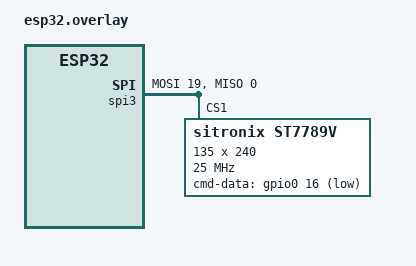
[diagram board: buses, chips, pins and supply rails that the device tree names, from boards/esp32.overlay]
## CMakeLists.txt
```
# SPDX-License-Identifier: Apache-2.0

cmake_minimum_required(VERSION 3.20.0)

find_package(Zephyr HINTS $ENV{ZEPHYR_BASE})
project(ttgo-display-helloworld)

FILE(GLOB app_sources src/*.c)
target_sources(app PRIVATE ${app_sources})
```

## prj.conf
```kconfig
CONFIG_GPIO=y
CONFIG_SPI=y
CONFIG_I2C=y
CONFIG_ST7789V=y
CONFIG_HEAP_MEM_POOL_SIZE=98304
CONFIG_GEN_ISR_TABLES=y
# CONFIG_GEN_IRQ_VECTOR_TABLE is not set
CONFIG_SYS_CLOCK_HW_CYCLES_PER_SEC=240000000
# CONFIG_XTENSA_RESET_VECTOR is not set
# CONFIG_XTENSA_USE_CORE_CRT1 is not set
CONFIG_MAIN_STACK_SIZE=2048
CONFIG_CONSOLE=y
CONFIG_UART_CONSOLE=y
CONFIG_SERIAL=y
CONFIG_PINMUX=y
CONFIG_PINMUX_ESP32=y
CONFIG_DISPLAY=y
```

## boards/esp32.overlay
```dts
&spi3 {
	status = "okay";
	#address-cells = <1>;
	#size-cells = <0>;
	miso-pin = <0>;
	mosi-pin = <19>;
	sclk-pin = <18>;
	csel-pin = <5>;

	/* Sitronix ST7789V LCD */
	st7789v: st7789v@1 {
		status = "okay";
		compatible = "sitronix,st7789v";
		reg = <1>;
		spi-max-frequency = <25000000>; /* 25MHz */
		label = "ST7789V";
		cmd-data-gpios = <&gpio0 16 GPIO_ACTIVE_LOW>;	/* DET */
		// reset-gpios = <&gpio0 23 GPIO_ACTIVE_LOW>;	/* RESX reset */
		width = <135>;
		height = <240>;
		x-offset = <52>;
		y-offset = <40>;
		vcom = <0x28>;
		gctrl = <0x35>;
		vrhs = <0x10>;
		vdvs = <0x20>;
		mdac = <0x00>;
		gamma = <0x01>;
		colmod = <0x55>;
		lcm = <0x0c>;
		porch-param = [0c 0c 00 33 33];
		cmd2en-param = [5a 69 02 01];
		pwctrl1-param = [a4 a1];
		pvgam-param = [D0 00 02 07 0A 28 32 44 42 06 0E 12 14 17];
		nvgam-param = [D0 00 02 07 0A 28 31 54 47 0E 1C 17 1B 1E];
		ram-param = [00 F0];
		rgb-param = [CD 08 14];
	};
};

/ {
	aliases {
		gpio0 = &gpio0;
	};
};
```

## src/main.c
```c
#include <device.h>
#include <drivers/display.h>
#include <drivers/gpio.h>
#include <lvgl.h>
#include <stdio.h>
#include <string.h>
#include <zephyr.h>

#define LOG_LEVEL CONFIG_LOG_DEFAULT_LEVEL
#include <logging/log.h>
LOG_MODULE_REGISTER(app);

void main(void)
{
	uint32_t count = 0U;
	char count_str[11] = { 0 };
	const struct device *display_dev, *gpio0;
	lv_obj_t *hello_world_label;
	lv_obj_t *count_label;

	display_dev = device_get_binding("ST7789V");
	if (!device_is_ready(display_dev)) {
		LOG_ERR("Device not ready, aborting test");
		return;
	}

	gpio0 = DEVICE_DT_GET(DT_ALIAS(gpio0));
    gpio_pin_configure(gpio0, 4, GPIO_OUTPUT | GPIO_OUTPUT_INIT_HIGH);

	if (IS_ENABLED(CONFIG_LV_Z_POINTER_KSCAN)) {
		lv_obj_t *hello_world_button;

		hello_world_button = lv_btn_create(lv_scr_act());
		lv_obj_align(hello_world_button, LV_ALIGN_CENTER, 0, 0);
		hello_world_label = lv_label_create(hello_world_button);
	} else {
		hello_world_label = lv_label_create(lv_scr_act());
	}

	lv_label_set_text(hello_world_label, "Hello world!");
	lv_obj_align(hello_world_label, LV_ALIGN_CENTER, 0, 0);

	count_label = lv_label_create(lv_scr_act());
	lv_obj_align(count_label, LV_ALIGN_BOTTOM_MID, 0, 0);

	lv_task_handler();
	display_blanking_off(display_dev);

	LOG_INF("ready");
	while (1) {
		if ((count % 100) == 0U) {
			sprintf(count_str, "%d", count / 100U);
			lv_label_set_text(count_label, count_str);
		}
		lv_task_handler();
		k_sleep(K_MSEC(10));
		++count;
	}
}
```
